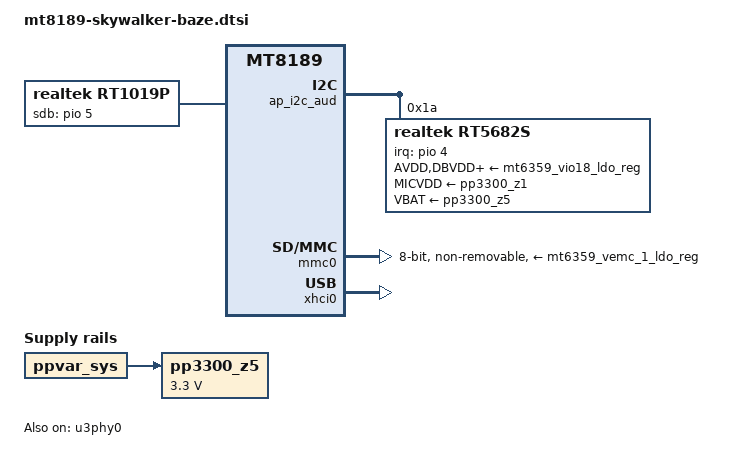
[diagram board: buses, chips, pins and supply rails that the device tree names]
// SPDX-License-Identifier: (GPL-2.0 OR MIT)
/*
 * Copyright (C) 2025 Google Inc.
 */
/dts-v1/;
#include "mt8189-skywalker.dtsi"

/ {
	connector-hdmi {
		status = "disabled";
	};

	/delete-node/ rt9123;

	rt1019p: audio-codec {
		compatible = "realtek,rt1019p";
		#sound-dai-cells = <0>;
		pinctrl-names = "default";
		pinctrl-0 = <&audio_spk_en_pins>;
		sdb-gpios = <&pio 5 GPIO_ACTIVE_HIGH>;
	};

	/* system wide LDO 3.3V power rail */
	pp3300_z5: regulator-pp3300-ldo-z5 {
		compatible = "regulator-fixed";
		regulator-name = "pp3300_ldo_z5";
		regulator-always-on;
		regulator-boot-on;
		regulator-min-microvolt = <3300000>;
		regulator-max-microvolt = <3300000>;
		vin-supply = <&ppvar_sys>;
	};
};

&ap_i2c_sar {
	status = "disabled";
};

&ap_i2c_hdmi {
	status = "disabled";
};

&ap_i2c_tchpad {
	/delete-node/ trackpad@15;

	trackpad_elan: trackpad@15 {
		compatible = "elan,ekth3000";
		reg = <0x15>;
		interrupts-extended = <&pio 125 IRQ_TYPE_LEVEL_LOW>;
		pinctrl-names = "default";
		pinctrl-0 = <&trackpad_pins>;
		wakeup-source;
		vcc-supply = <&pp3300_s3>;
		status = "fail-needs-probe";
	};

	trackpad_synaptics: trackpad@2c  {
		compatible = "hid-over-i2c";
		reg = <0x2c>;
		interrupts-extended = <&pio 125 IRQ_TYPE_LEVEL_LOW>;
		pinctrl-names = "default";
		pinctrl-0 = <&trackpad_pins>;
		wakeup-source;
		hid-descr-addr = <0x20>;
		vdd-supply = <&pp3300_s3>;
		status = "fail-needs-probe";
	};

	trackpad_pixart: trackpad@68 {
		compatible = "hid-over-i2c";
		reg = <0x68>;
		interrupts-extended = <&pio 125 IRQ_TYPE_LEVEL_LOW>;
		pinctrl-names = "default";
		pinctrl-0 = <&trackpad_pins>;
		wakeup-source;
		hid-descr-addr = <0x20>;
		vdd-supply = <&pp3300_s3>;
		status = "fail-needs-probe";
	};
};

&ap_i2c_tchscr {
	touchscreen@41 {
		status = "disabled";
	};

	touchscreen_elan_10: touchscreen@10 {
		compatible = "elan,ekth5015m", "elan,ekth6915";
		reg = <0x10>;
		interrupts-extended = <&pio 15 IRQ_TYPE_LEVEL_LOW>;
		pinctrl-names = "default";
		pinctrl-0 = <&touchscreen_pins>;
		reset-gpios = <&pio 126 GPIO_ACTIVE_LOW>;
		vcc33-supply = <&pp3300_tchscr_x>;
		status = "fail-needs-probe";
	};

	touchscreen_elan: touchscreen@16 {
		compatible = "elan,ekth6a12nay";
		reg = <0x16>;
		interrupts-extended = <&pio 15 IRQ_TYPE_LEVEL_LOW>;
		pinctrl-names = "default";
		pinctrl-0 = <&touchscreen_pins>;
		reset-gpios = <&pio 126 GPIO_ACTIVE_LOW>;
		vcc33-supply = <&pp3300_tchscr_x>;
		status = "fail-needs-probe";
	};
};

&dsi0 {
	status = "disabled";
};

&ap_i2c_aud {
	/delete-node/ audio-codec@1a;

	rt5682s: audio-codec@1a {
		compatible = "realtek,rt5682s";
		reg = <0x1a>;
		interrupts-extended = <&pio 4 IRQ_TYPE_EDGE_BOTH>;
		pinctrl-names = "default";
		pinctrl-0 = <&audio_codec_pins>;
		#sound-dai-cells = <0>;

		AVDD-supply = <&mt6359_vio18_ldo_reg>;
		DBVDD-supply = <&mt6359_vio18_ldo_reg>;
		LDO1-IN-supply = <&mt6359_vio18_ldo_reg>;
		MICVDD-supply = <&pp3300_z1>;
		VBAT-supply = <&pp3300_z5>;
		realtek,jd-src = <1>;
	};
};

&keyboard_controller {
	keypad,num-columns = <18>;

	function-row-physmap = <
		MATRIX_KEY(0x00, 0x02, 0)		/* T1 */
		MATRIX_KEY(0x03, 0x02, 0)		/* T2 */
		MATRIX_KEY(0x02, 0x02, 0)		/* T3 */
		MATRIX_KEY(0x01, 0x02, 0)		/* T4 */
		MATRIX_KEY(0x04, 0x04, 0)		/* T5 */
		MATRIX_KEY(0x02, 0x04, 0)		/* T6 */
		MATRIX_KEY(0x01, 0x04, 0)		/* T7 */
		MATRIX_KEY(0x02, 0x0b, 0)		/* T8 */
		MATRIX_KEY(0x01, 0x09, 0)		/* T9 */
		MATRIX_KEY(0x00, 0x04, 0)		/* T10 */
		MATRIX_KEY(0x00, 0x01, 0)		/* T11 */
		MATRIX_KEY(0x01, 0x05, 0)		/* T12 */
		MATRIX_KEY(0x03, 0x05, 0)		/* T13 */
		MATRIX_KEY(0x00, 0x0b, 0)		/* T14 */
	>;

	linux,keymap = <
		CROS_TOP_ROW_KEYMAP_V30
		CROS_MAIN_KEYMAP_V30

		MATRIX_KEY(0x00, 0x02, KEY_BACK)		/* T1 */
		MATRIX_KEY(0x03, 0x02, KEY_REFRESH)		/* T2 */
		MATRIX_KEY(0x02, 0x02, KEY_ZOOM)		/* T3 */
		MATRIX_KEY(0x01, 0x02, KEY_SCALE)		/* T4 */
		MATRIX_KEY(0x04, 0x04, KEY_SYSRQ)		/* T5 */
		MATRIX_KEY(0x02, 0x04, KEY_BRIGHTNESSDOWN)	/* T6 */
		MATRIX_KEY(0x01, 0x04, KEY_BRIGHTNESSUP)	/* T7 */
		MATRIX_KEY(0x02, 0x0b, KEY_DICTATE)	        /* T8 */
		MATRIX_KEY(0x01, 0x09, KEY_ACCESSIBILITY)	/* T9 */
		MATRIX_KEY(0x00, 0x04, KEY_PLAYPAUSE)		/* T10 */
		MATRIX_KEY(0x00, 0x01, KEY_MICMUTE)		/* T11 */
		MATRIX_KEY(0x01, 0x05, KEY_MUTE)		/* T12 */
		MATRIX_KEY(0x03, 0x05, KEY_VOLUMEDOWN)		/* T13 */
		MATRIX_KEY(0x00, 0x0b, KEY_VOLUMEUP)		/* T14 */
	>;
};

&mmc0 {
	status = "okay";
	pinctrl-names = "default", "state_uhs";
	pinctrl-0 = <&mmc0_pins_default>;
	pinctrl-1 = <&mmc0_pins_uhs>;
	bus-width = <8>;
	max-frequency = <200000000>;
	cap-mmc-highspeed;
	mmc-hs200-1_8v;
	mmc-hs400-1_8v;
	mmc-hs400-enhanced-strobe;
	supports-cqe;
	cap-mmc-hw-reset;
	no-sdio;
	no-sd;
	non-removable;
	hs400-ds-delay = <0x1481b>;
	mediatek,hs400-ds-dly3 = <0x14>;
	vmmc-supply = <&mt6359_vemc_1_ldo_reg>;
	vqmmc-supply = <&mt6359_vufs_ldo_reg>;
};

&pio{
	mmc0_pins_default: mmc0-default-pins {
		pins-cmd-dat {
			pinmux = <PINMUX_GPIO156__FUNC_MSDC0_DAT7>,
				 <PINMUX_GPIO157__FUNC_MSDC0_DAT6>,
				 <PINMUX_GPIO158__FUNC_MSDC0_DAT5>,
				 <PINMUX_GPIO159__FUNC_MSDC0_DAT4>,
				 <PINMUX_GPIO161__FUNC_MSDC0_CMD>,
				 <PINMUX_GPIO163__FUNC_MSDC0_DAT3>,
				 <PINMUX_GPIO164__FUNC_MSDC0_DAT2>,
				 <PINMUX_GPIO165__FUNC_MSDC0_DAT1>,
				 <PINMUX_GPIO166__FUNC_MSDC0_DAT0>;
			input-enable;
			drive-strength = <6>;
			bias-pull-up = <MTK_PUPD_SET_R1R0_01>;
		};

		pins-clk {
			pinmux = <PINMUX_GPIO162__FUNC_MSDC0_CLK>;
			drive-strength = <6>;
			bias-pull-down = <MTK_PUPD_SET_R1R0_10>;
		};

		pins-rst {
			pinmux = <PINMUX_GPIO160__FUNC_MSDC0_RSTB>;
			drive-strength = <6>;
			bias-pull-up = <MTK_PUPD_SET_R1R0_00>;
		};
	};

	mmc0_pins_uhs: mmc0-uhs-pins {
		pins-cmd-dat {
			pinmux = <PINMUX_GPIO156__FUNC_MSDC0_DAT7>,
				 <PINMUX_GPIO157__FUNC_MSDC0_DAT6>,
				 <PINMUX_GPIO158__FUNC_MSDC0_DAT5>,
				 <PINMUX_GPIO159__FUNC_MSDC0_DAT4>,
				 <PINMUX_GPIO161__FUNC_MSDC0_CMD>,
				 <PINMUX_GPIO163__FUNC_MSDC0_DAT3>,
				 <PINMUX_GPIO164__FUNC_MSDC0_DAT2>,
				 <PINMUX_GPIO165__FUNC_MSDC0_DAT1>,
				 <PINMUX_GPIO166__FUNC_MSDC0_DAT0>;
			input-enable;
			drive-strength = <8>;
			bias-pull-up = <MTK_PUPD_SET_R1R0_01>;
		};

		pins-clk {
			pinmux = <PINMUX_GPIO162__FUNC_MSDC0_CLK>;
			drive-strength = <8>;
			bias-pull-down = <MTK_PUPD_SET_R1R0_10>;
		};

		pins-ds {
			pinmux = <PINMUX_GPIO167__FUNC_MSDC0_DSL>;
			drive-strength = <8>;
			bias-pull-down = <MTK_PUPD_SET_R1R0_10>;
		};

		pins-rst {
			pinmux = <PINMUX_GPIO160__FUNC_MSDC0_RSTB>;
			bias-pull-up = <MTK_PUPD_SET_R1R0_00>;
		};
	};
};

&sound {
	compatible = "mediatek,mt8189-rt5682s-sound";
	model = "mt8189_1019_rt5682s";
	status = "okay";

	dai-link-0 {
		link-name = "I2SOUT1_BE";
		mediatek,clk-provider = "cpu";

		codec {
			sound-dai = <&rt1019p>;
		};
	};

	dai-link-1 {
		link-name = "I2SOUT0_BE";
		mediatek,clk-provider = "cpu";

		codec {
			sound-dai = <&rt5682s>;
		};
	};

	dai-link-2 {
		link-name = "I2SIN0_BE";
		mediatek,clk-provider = "cpu";

		codec {
			sound-dai = <&rt5682s>;
		};
	};

	/* delete dai-link-6 because remove hdmi bridge */
	/delete-node/ dai-link-6;
};

&spi1 {
	status = "disabled";
};

&u3phy0 {
	status = "okay";
};

&ufshci {
	status = "disabled";
};

/* USB hub port 1 */
&usb_hub_dsp1_hs {
	remote-endpoint = <&usb_c0_hs>;
};

&usb_c0_hs {
	remote-endpoint = <&usb_hub_dsp1_hs>;
};

&usb_hub_dsp1_ss {
	remote-endpoint = <&usb_c0_ss>;
};

&usb_c0_ss {
	remote-endpoint = <&usb_hub_dsp1_ss>;
};

/* USB hub port 2 */
&usb_hub_dsp2_hs {
	remote-endpoint = <&usb_c1_hs>;
};

&usb_c1_hs {
	remote-endpoint = <&usb_hub_dsp2_hs>;
};

&usb_hub_dsp2_ss {
	remote-endpoint = <&usb_c1_ss>;
};

&usb_c1_ss {
	remote-endpoint = <&usb_hub_dsp2_ss>;
};

/* USB hub port 3 */
&usb_hub_dsp3_hs {
	remote-endpoint = <&usb_a0_hs>;
};

&usb_a0_hs {
	remote-endpoint = <&usb_hub_dsp3_hs>;
};

&usb_hub_dsp3_ss {
	remote-endpoint = <&usb_a0_ss>;
};

&usb_a0_ss {
	remote-endpoint = <&usb_hub_dsp3_ss>;
};

/* USB hub port 4 */
&usb_hub_dsp4_hs {
	remote-endpoint = <&usb_a1_hs>;
};

&usb_a1_hs {
	remote-endpoint = <&usb_hub_dsp4_hs>;
};

&usb_hub_dsp4_ss {
	remote-endpoint = <&usb_a1_ss>;
};

&usb_a1_ss {
	remote-endpoint = <&usb_hub_dsp4_ss>;
};

&xhci0 {
	status = "okay";
};
